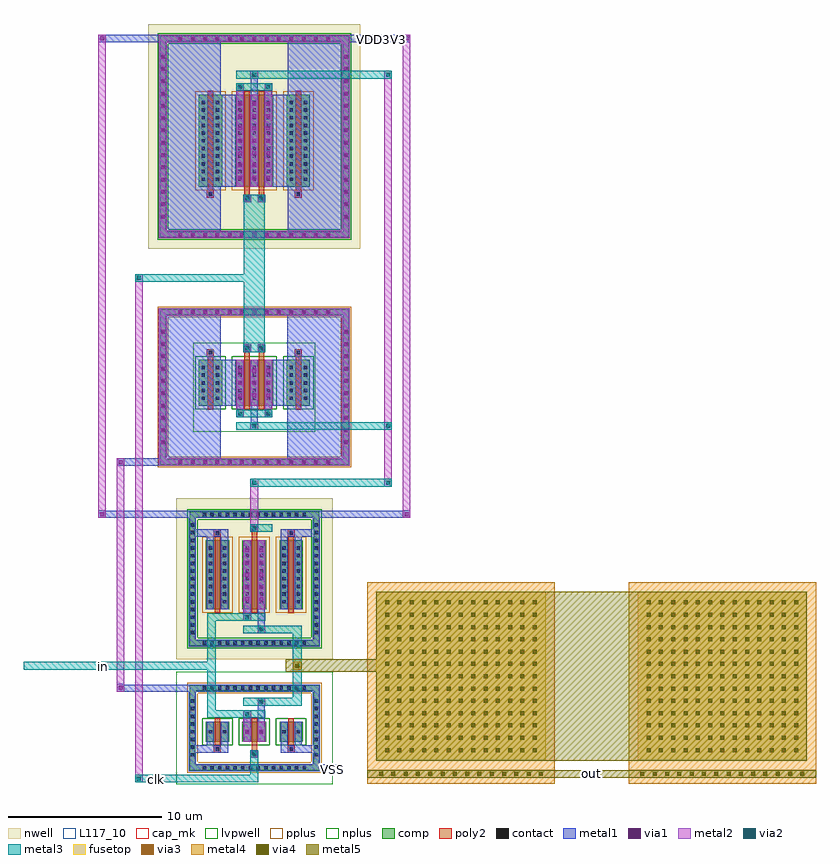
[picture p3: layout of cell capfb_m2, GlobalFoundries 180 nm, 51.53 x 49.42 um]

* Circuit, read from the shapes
.subckt capfb_m2 VDD3V3 VSS clk in out
XM1 VSS VSS VSS VSS nfet_03v3 w=3u l=0.36u m=2
XM2 VSS VSS VSS VSS nfet_03v3 w=1.3u l=0.36u m=2
XM3 n1 clk VSS VSS nfet_03v3 w=3u l=0.36u m=2
XM4 n2 clk in VSS nfet_03v3 w=1.3u l=0.36u
XM5 VDD3V3 VDD3V3 VDD3V3 VDD3V3 pfet_03v3 w=6u l=0.36u m=2
XM6 VDD3V3 VDD3V3 VDD3V3 VDD3V3 pfet_03v3 w=4.5u l=0.36u m=2
XM7 n1 clk VDD3V3 VDD3V3 pfet_03v3 w=6u l=0.36u m=2
XM8 n2 n1 in VDD3V3 pfet_03v3 w=4.5u l=0.36u
XC9 n2 out cap_mim_2f0fF c_width=11u c_length=11u m=2
.ends

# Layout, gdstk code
from math import pi, radians
import gdstk
lib = gdstk.Library(unit=1e-6, precision=5e-09)
def R(c, l, rs):  # rectangles x0, y0, x1, y1
    for r in rs: c.add(gdstk.rectangle(r[:2], r[2:], *l))
def A(c, l, x, y, w, h, nx, ny, dx, dy):  # array of equal rectangles
    R(c, l, [(x+i*dx, y+j*dy, x+i*dx+w, y+j*dy+h) for i in range(nx) for j in range(ny)])
def P(c, l, *ps):  # polygons
    for p in ps: c.add(gdstk.Polygon(p, *l))
nwell = (21, 0)
comp = (22, 0)
poly2 = (30, 0)
pplus = (31, 0)
nplus = (32, 0)
contact = (33, 0)
metal1 = (34, 0)
via1 = (35, 0)
metal2 = (36, 0)
via2 = (38, 0)
via3 = (40, 0)
via4 = (41, 0)
metal3 = (42, 0)
metal4 = (46, 0)
fusetop = (75, 0)
metal5 = (81, 0)
cap_mk = (117, 5)
L117_10 = (117, 10)
lvpwell = (204, 0)

unnamed_2a73851a_1_2 = lib.new_cell('Unnamed_2a73851a$1$2')
R(unnamed_2a73851a_1_2, nwell, [(-2.32,-4.395,2.32,4.395)])
R(unnamed_2a73851a_1_2, comp, [(-1.97,-3.275,-0.45,2.725), (0.41,-3.275,1.97,2.725)])
R(unnamed_2a73851a_1_2, poly2, [(0.96,-4.275,1.42,-3.815), (1.01,-4.225,1.37,-3.865), (-1.44,-3.975,-0.98,-3.515), (-1.39,-3.925,-1.03,-3.565), (1.01,-3.815,1.37,-3.515), (-1.39,-3.515,-1.03,2.965), (1.01,-3.515,1.37,2.965)])
R(unnamed_2a73851a_1_2, pplus, [(-2.2,-3.505,-0.22,2.955), (0.18,-3.505,2.2,2.955)])
A(unnamed_2a73851a_1_2, contact, -1.78, -2.885, 0.22, 0.22, 1, 11, 0, 0.5)
A(unnamed_2a73851a_1_2, contact, -0.86, -2.885, 0.22, 0.22, 1, 11, 0, 0.5)
A(unnamed_2a73851a_1_2, contact, 0.62, -2.885, 0.22, 0.22, 1, 11, 0, 0.5)
A(unnamed_2a73851a_1_2, contact, 1.54, -2.885, 0.22, 0.22, 1, 11, 0, 0.5)
R(unnamed_2a73851a_1_2, contact, [(1.08,-4.155,1.3,-3.935), (-1.32,-3.855,-1.1,-3.635)])
A(unnamed_2a73851a_1_2, metal1, -1.9, -3.975, 0.46, 0.46, 3, 1, 0.46, 0)
A(unnamed_2a73851a_1_2, metal1, -1.9, -3.005, 0.46, 0.46, 1, 11, 0, 0.5)
A(unnamed_2a73851a_1_2, metal1, -0.98, -3.005, 0.46, 0.46, 1, 11, 0, 0.5)
A(unnamed_2a73851a_1_2, metal1, 0.5, -3.005, 0.46, 0.46, 1, 11, 0, 0.5)
A(unnamed_2a73851a_1_2, metal1, 1.42, -3.005, 0.46, 0.46, 1, 11, 0, 0.5)
A(unnamed_2a73851a_1_2, metal1, 0.48, -2.925, 0.5, 0.5, 1, 7, 0, 0.8)
A(unnamed_2a73851a_1_2, metal1, 1.4, -2.925, 0.5, 0.5, 1, 7, 0, 0.8)
R(unnamed_2a73851a_1_2, metal1, [(0.96,-4.275,1.42,-3.815), (0.96,-4.275,1.42,-3.815), (-1.9,-3.975,-1.44,-3.275), (-0.98,-3.975,-0.52,-3.275), (-1.9,-3.275,-1.44,2.725), (-0.98,-3.275,-0.52,2.725), (0.5,-3.275,0.96,2.725), (1.42,-3.275,1.88,2.725), (0.48,-2.925,0.98,2.375), (1.4,-2.925,1.9,2.375), (0.5,2.725,0.96,3.475), (1.42,2.725,1.88,4.275), (0.48,2.975,0.98,3.475), (1.4,3.775,1.9,4.275)])
A(unnamed_2a73851a_1_2, via1, 0.6, -2.805, 0.26, 0.26, 1, 7, 0, 0.8)
A(unnamed_2a73851a_1_2, via1, 1.52, -2.805, 0.26, 0.26, 1, 7, 0, 0.8)
R(unnamed_2a73851a_1_2, via1, [(0.6,3.095,0.86,3.355), (1.52,3.895,1.78,4.155)])
A(unnamed_2a73851a_1_2, metal2, 0.48, -2.925, 0.5, 0.5, 1, 7, 0, 0.8)
A(unnamed_2a73851a_1_2, metal2, 1.4, -2.925, 0.5, 0.5, 1, 7, 0, 0.8)
R(unnamed_2a73851a_1_2, metal2, [(0.48,-3.275,0.98,2.725), (1.4,-3.275,1.9,2.725), (0.48,2.975,0.98,3.475), (1.4,3.775,1.9,4.275)])
R(unnamed_2a73851a_1_2, via2, [(0.6,3.095,0.86,3.355), (1.52,3.895,1.78,4.155)])
R(unnamed_2a73851a_1_2, metal3, [(0.48,2.975,0.98,3.475), (0.48,2.975,1.9,3.475), (0.48,3.775,1.9,4.275), (1.4,3.775,1.9,4.275)])

unnamed_f1af8ef3_1_2 = lib.new_cell('Unnamed_f1af8ef3$1$2')
R(unnamed_f1af8ef3_1_2, nwell, [(-2.32,-4.395,2.32,4.395)])
R(unnamed_f1af8ef3_1_2, comp, [(-1.97,-3.275,-0.45,2.725), (0.41,-3.275,1.97,2.725)])
R(unnamed_f1af8ef3_1_2, poly2, [(0.96,-4.275,1.42,-3.815), (1.01,-4.225,1.37,-3.865), (-1.44,-3.975,-0.98,-3.515), (-1.39,-3.925,-1.03,-3.565), (1.01,-3.815,1.37,-3.515), (-1.39,-3.515,-1.03,2.965), (1.01,-3.515,1.37,2.965)])
R(unnamed_f1af8ef3_1_2, pplus, [(-2.2,-3.505,-0.22,2.955), (0.18,-3.505,2.2,2.955)])
A(unnamed_f1af8ef3_1_2, contact, -1.78, -2.885, 0.22, 0.22, 1, 11, 0, 0.5)
A(unnamed_f1af8ef3_1_2, contact, -0.86, -2.885, 0.22, 0.22, 1, 11, 0, 0.5)
A(unnamed_f1af8ef3_1_2, contact, 0.62, -2.885, 0.22, 0.22, 1, 11, 0, 0.5)
A(unnamed_f1af8ef3_1_2, contact, 1.54, -2.885, 0.22, 0.22, 1, 11, 0, 0.5)
R(unnamed_f1af8ef3_1_2, contact, [(1.08,-4.155,1.3,-3.935), (-1.32,-3.855,-1.1,-3.635)])
A(unnamed_f1af8ef3_1_2, metal1, -1.9, -3.975, 0.46, 0.46, 3, 1, 0.46, 0)
A(unnamed_f1af8ef3_1_2, metal1, -1.9, -3.005, 0.46, 0.46, 1, 11, 0, 0.5)
A(unnamed_f1af8ef3_1_2, metal1, -0.98, -3.005, 0.46, 0.46, 1, 11, 0, 0.5)
A(unnamed_f1af8ef3_1_2, metal1, 0.5, -3.005, 0.46, 0.46, 1, 11, 0, 0.5)
A(unnamed_f1af8ef3_1_2, metal1, 1.42, -3.005, 0.46, 0.46, 1, 11, 0, 0.5)
A(unnamed_f1af8ef3_1_2, metal1, 0.48, -2.925, 0.5, 0.5, 1, 7, 0, 0.8)
A(unnamed_f1af8ef3_1_2, metal1, 1.4, -2.925, 0.5, 0.5, 1, 7, 0, 0.8)
R(unnamed_f1af8ef3_1_2, metal1, [(0.96,-4.275,1.42,-3.815), (0.96,-4.275,1.42,-3.815), (-1.9,-3.975,-1.44,-3.275), (-0.98,-3.975,-0.52,-3.275), (-1.9,-3.275,-1.44,2.725), (-0.98,-3.275,-0.52,2.725), (0.5,-3.275,0.96,2.725), (1.42,-3.275,1.88,2.725), (0.48,-2.925,0.98,2.375), (1.4,-2.925,1.9,2.375), (0.5,2.725,0.96,3.475), (1.42,2.725,1.88,4.275), (0.48,2.975,0.98,3.475), (1.4,3.775,1.9,4.275)])
A(unnamed_f1af8ef3_1_2, via1, 0.6, -2.805, 0.26, 0.26, 1, 7, 0, 0.8)
A(unnamed_f1af8ef3_1_2, via1, 1.52, -2.805, 0.26, 0.26, 1, 7, 0, 0.8)
R(unnamed_f1af8ef3_1_2, via1, [(0.6,3.095,0.86,3.355), (1.52,3.895,1.78,4.155)])
A(unnamed_f1af8ef3_1_2, metal2, 0.48, -2.925, 0.5, 0.5, 1, 7, 0, 0.8)
A(unnamed_f1af8ef3_1_2, metal2, 1.4, -2.925, 0.5, 0.5, 1, 7, 0, 0.8)
R(unnamed_f1af8ef3_1_2, metal2, [(0.48,-3.275,0.98,2.725), (1.4,-3.275,1.9,2.725), (0.48,2.975,0.98,3.475), (1.4,3.775,1.9,4.275)])
R(unnamed_f1af8ef3_1_2, via2, [(0.6,3.095,0.86,3.355), (1.52,3.895,1.78,4.155)])
R(unnamed_f1af8ef3_1_2, metal3, [(0.48,2.975,0.98,3.475), (0.48,2.975,1.9,3.475), (0.48,3.775,1.9,4.275), (1.4,3.775,1.9,4.275)])

unnamed_ead98f9a_1_2 = lib.new_cell('Unnamed_ead98f9a$1$2')
R(unnamed_ead98f9a_1_2, comp, [(-1.97,-1.775,-0.45,1.225), (0.41,-1.775,1.97,1.225)])
R(unnamed_ead98f9a_1_2, poly2, [(0.96,-2.775,1.42,-2.315), (1.01,-2.725,1.37,-2.365), (-1.44,-2.475,-0.98,-2.015), (-1.39,-2.425,-1.03,-2.065), (1.01,-2.315,1.37,-2.015), (-1.39,-2.015,-1.03,1.465), (1.01,-2.015,1.37,1.465)])
R(unnamed_ead98f9a_1_2, nplus, [(-2.2,-2.005,-0.22,1.455), (0.18,-2.005,2.2,1.455)])
A(unnamed_ead98f9a_1_2, contact, -1.78, -1.385, 0.22, 0.22, 1, 5, 0, 0.5)
A(unnamed_ead98f9a_1_2, contact, -0.86, -1.385, 0.22, 0.22, 1, 5, 0, 0.5)
A(unnamed_ead98f9a_1_2, contact, 0.62, -1.385, 0.22, 0.22, 1, 5, 0, 0.5)
A(unnamed_ead98f9a_1_2, contact, 1.54, -1.385, 0.22, 0.22, 1, 5, 0, 0.5)
R(unnamed_ead98f9a_1_2, contact, [(1.08,-2.655,1.3,-2.435), (-1.32,-2.355,-1.1,-2.135)])
A(unnamed_ead98f9a_1_2, metal1, -1.9, -2.475, 0.46, 0.46, 3, 1, 0.46, 0)
A(unnamed_ead98f9a_1_2, metal1, -1.9, -1.505, 0.46, 0.46, 1, 5, 0, 0.5)
A(unnamed_ead98f9a_1_2, metal1, -0.98, -1.505, 0.46, 0.46, 1, 5, 0, 0.5)
A(unnamed_ead98f9a_1_2, metal1, 0.5, -1.505, 0.46, 0.46, 1, 5, 0, 0.5)
A(unnamed_ead98f9a_1_2, metal1, 1.42, -1.505, 0.46, 0.46, 1, 5, 0, 0.5)
A(unnamed_ead98f9a_1_2, metal1, 0.48, -1.325, 0.5, 0.5, 1, 3, 0, 0.8)
A(unnamed_ead98f9a_1_2, metal1, 1.4, -1.325, 0.5, 0.5, 1, 3, 0, 0.8)
R(unnamed_ead98f9a_1_2, metal1, [(0.96,-2.775,1.42,-2.315), (0.96,-2.775,1.42,-2.315), (-1.9,-2.475,-1.44,-1.775), (-0.98,-2.475,-0.52,-1.775), (-1.9,-1.775,-1.44,1.225), (-0.98,-1.775,-0.52,1.225), (0.5,-1.775,0.96,1.225), (1.42,-1.775,1.88,1.225), (0.48,-1.325,0.98,0.775), (1.4,-1.325,1.9,0.775), (0.5,1.225,0.96,1.975), (1.42,1.225,1.88,2.775), (0.48,1.475,0.98,1.975), (1.4,2.275,1.9,2.775)])
A(unnamed_ead98f9a_1_2, via1, 0.6, -1.205, 0.26, 0.26, 1, 3, 0, 0.8)
A(unnamed_ead98f9a_1_2, via1, 1.52, -1.205, 0.26, 0.26, 1, 3, 0, 0.8)
R(unnamed_ead98f9a_1_2, via1, [(0.6,1.595,0.86,1.855), (1.52,2.395,1.78,2.655)])
A(unnamed_ead98f9a_1_2, metal2, 0.48, -1.325, 0.5, 0.5, 1, 3, 0, 0.8)
A(unnamed_ead98f9a_1_2, metal2, 1.4, -1.325, 0.5, 0.5, 1, 3, 0, 0.8)
R(unnamed_ead98f9a_1_2, metal2, [(0.48,-1.775,0.98,1.225), (1.4,-1.775,1.9,1.225), (0.48,1.475,0.98,1.975), (1.4,2.275,1.9,2.775)])
R(unnamed_ead98f9a_1_2, via2, [(0.6,1.595,0.86,1.855), (1.52,2.395,1.78,2.655)])
R(unnamed_ead98f9a_1_2, metal3, [(0.48,1.475,0.98,1.975), (0.48,1.475,1.9,1.975), (0.48,2.275,1.9,2.775), (1.4,2.275,1.9,2.775)])
R(unnamed_ead98f9a_1_2, lvpwell, [(-2.32,-2.895,2.32,2.895)])

unnamed_11e8e328_1_2 = lib.new_cell('Unnamed_11e8e328$1$2')
R(unnamed_11e8e328_1_2, comp, [(-1.97,-1.775,-0.45,1.225), (0.41,-1.775,1.97,1.225)])
R(unnamed_11e8e328_1_2, poly2, [(0.96,-2.775,1.42,-2.315), (1.01,-2.725,1.37,-2.365), (-1.44,-2.475,-0.98,-2.015), (-1.39,-2.425,-1.03,-2.065), (1.01,-2.315,1.37,-2.015), (-1.39,-2.015,-1.03,1.465), (1.01,-2.015,1.37,1.465)])
R(unnamed_11e8e328_1_2, nplus, [(-2.2,-2.005,-0.22,1.455), (0.18,-2.005,2.2,1.455)])
A(unnamed_11e8e328_1_2, contact, -1.78, -1.385, 0.22, 0.22, 1, 5, 0, 0.5)
A(unnamed_11e8e328_1_2, contact, -0.86, -1.385, 0.22, 0.22, 1, 5, 0, 0.5)
A(unnamed_11e8e328_1_2, contact, 0.62, -1.385, 0.22, 0.22, 1, 5, 0, 0.5)
A(unnamed_11e8e328_1_2, contact, 1.54, -1.385, 0.22, 0.22, 1, 5, 0, 0.5)
R(unnamed_11e8e328_1_2, contact, [(1.08,-2.655,1.3,-2.435), (-1.32,-2.355,-1.1,-2.135)])
A(unnamed_11e8e328_1_2, metal1, -1.9, -2.475, 0.46, 0.46, 3, 1, 0.46, 0)
A(unnamed_11e8e328_1_2, metal1, -1.9, -1.505, 0.46, 0.46, 1, 5, 0, 0.5)
A(unnamed_11e8e328_1_2, metal1, -0.98, -1.505, 0.46, 0.46, 1, 5, 0, 0.5)
A(unnamed_11e8e328_1_2, metal1, 0.5, -1.505, 0.46, 0.46, 1, 5, 0, 0.5)
A(unnamed_11e8e328_1_2, metal1, 1.42, -1.505, 0.46, 0.46, 1, 5, 0, 0.5)
A(unnamed_11e8e328_1_2, metal1, 0.48, -1.325, 0.5, 0.5, 1, 3, 0, 0.8)
A(unnamed_11e8e328_1_2, metal1, 1.4, -1.325, 0.5, 0.5, 1, 3, 0, 0.8)
R(unnamed_11e8e328_1_2, metal1, [(0.96,-2.775,1.42,-2.315), (0.96,-2.775,1.42,-2.315), (-1.9,-2.475,-1.44,-1.775), (-0.98,-2.475,-0.52,-1.775), (-1.9,-1.775,-1.44,1.225), (-0.98,-1.775,-0.52,1.225), (0.5,-1.775,0.96,1.225), (1.42,-1.775,1.88,1.225), (0.48,-1.325,0.98,0.775), (1.4,-1.325,1.9,0.775), (0.5,1.225,0.96,1.975), (1.42,1.225,1.88,2.775), (0.48,1.475,0.98,1.975), (1.4,2.275,1.9,2.775)])
A(unnamed_11e8e328_1_2, via1, 0.6, -1.205, 0.26, 0.26, 1, 3, 0, 0.8)
A(unnamed_11e8e328_1_2, via1, 1.52, -1.205, 0.26, 0.26, 1, 3, 0, 0.8)
R(unnamed_11e8e328_1_2, via1, [(0.6,1.595,0.86,1.855), (1.52,2.395,1.78,2.655)])
A(unnamed_11e8e328_1_2, metal2, 0.48, -1.325, 0.5, 0.5, 1, 3, 0, 0.8)
A(unnamed_11e8e328_1_2, metal2, 1.4, -1.325, 0.5, 0.5, 1, 3, 0, 0.8)
R(unnamed_11e8e328_1_2, metal2, [(0.48,-1.775,0.98,1.225), (1.4,-1.775,1.9,1.225), (0.48,1.475,0.98,1.975), (1.4,2.275,1.9,2.775)])
R(unnamed_11e8e328_1_2, via2, [(0.6,1.595,0.86,1.855), (1.52,2.395,1.78,2.655)])
R(unnamed_11e8e328_1_2, metal3, [(0.48,1.475,0.98,1.975), (0.48,1.475,1.9,1.975), (0.48,2.275,1.9,2.775), (1.4,2.275,1.9,2.775)])
R(unnamed_11e8e328_1_2, lvpwell, [(-2.32,-2.895,2.32,2.895)])

unnamed_a559eeb2_1_1_2 = lib.new_cell('Unnamed_a559eeb2$1$1$2')
A(unnamed_a559eeb2_1_1_2, comp, -4.98, -6.555, 0.36, 0.36, 13, 2, 0.8, 12.75)
A(unnamed_a559eeb2_1_1_2, comp, -6.13, -5.38, 0.36, 0.36, 1, 14, 0, 0.8)
A(unnamed_a559eeb2_1_1_2, comp, 5.77, -5.38, 0.36, 0.36, 1, 14, 0, 0.8)
R(unnamed_a559eeb2_1_1_2, comp, [(-4.98,-6.555,4.98,-6.195), (-6.13,-5.38,-5.77,5.38), (5.77,-5.38,6.13,5.38), (-4.98,6.195,4.98,6.555)])
P(unnamed_a559eeb2_1_1_2, comp, [(-6.13,-6.555),(-6.13,-6.195),(-5.77,-6.195),(5.77,-6.195),(5.77,6.195),(-5.77,6.195),(-5.77,-6.195),(-6.13,-6.195),(-6.13,6.555),(6.13,6.555),(6.13,-6.555)])
P(unnamed_a559eeb2_1_1_2, nplus, [(-6.29,-6.715),(-6.29,-6.035),(-5.61,-6.035),(5.61,-6.035),(5.61,6.035),(-5.61,6.035),(-5.61,-6.035),(-6.29,-6.035),(-6.29,6.715),(6.29,6.715),(6.29,-6.715)])
A(unnamed_a559eeb2_1_1_2, contact, -4.91, -6.485, 0.22, 0.22, 13, 2, 0.8, 12.75)
A(unnamed_a559eeb2_1_1_2, contact, -6.06, -5.31, 0.22, 0.22, 1, 14, 0, 0.8)
A(unnamed_a559eeb2_1_1_2, contact, 5.84, -5.31, 0.22, 0.22, 1, 14, 0, 0.8)
A(unnamed_a559eeb2_1_1_2, metal1, -5.05, -6.625, 0.5, 0.5, 13, 2, 0.8, 12.75)
A(unnamed_a559eeb2_1_1_2, metal1, -6.2, -5.45, 0.5, 0.5, 1, 14, 0, 0.8)
A(unnamed_a559eeb2_1_1_2, metal1, 5.7, -5.45, 0.5, 0.5, 1, 14, 0, 0.8)
R(unnamed_a559eeb2_1_1_2, metal1, [(-5.05,-6.625,5.05,-6.125), (-6.2,-5.45,-5.7,5.45), (5.7,-5.45,6.2,5.45), (-5.05,6.125,5.05,6.625)])
A(unnamed_a559eeb2_1_1_2, via1, -4.93, -6.505, 0.26, 0.26, 13, 2, 0.8, 12.75)
A(unnamed_a559eeb2_1_1_2, via1, -6.08, -5.33, 0.26, 0.26, 1, 14, 0, 0.8)
A(unnamed_a559eeb2_1_1_2, via1, 5.82, -5.33, 0.26, 0.26, 1, 14, 0, 0.8)
A(unnamed_a559eeb2_1_1_2, metal2, -5.05, -6.625, 0.5, 0.5, 13, 2, 0.8, 12.75)
A(unnamed_a559eeb2_1_1_2, metal2, -6.2, -5.45, 0.5, 0.5, 1, 14, 0, 0.8)
A(unnamed_a559eeb2_1_1_2, metal2, 5.7, -5.45, 0.5, 0.5, 1, 14, 0, 0.8)
R(unnamed_a559eeb2_1_1_2, metal2, [(-6.2,-6.625,-5.77,-6.125), (-6.2,-6.625,-5.7,-6.195), (-5.77,-6.625,5.77,-6.125), (5.7,-6.625,6.2,-6.195), (5.77,-6.625,6.2,-6.125), (-6.2,-6.195,-5.7,6.195), (5.7,-6.195,6.2,6.195), (-6.2,6.125,-5.77,6.625), (-5.77,6.125,5.77,6.625), (5.77,6.125,6.2,6.625), (-6.2,6.195,-5.7,6.625), (5.7,6.195,6.2,6.625)])

unnamed_ba294454_1_1_2 = lib.new_cell('Unnamed_ba294454$1$1$2')
A(unnamed_ba294454_1_1_2, comp, -4.98, -5.055, 0.36, 0.36, 13, 2, 0.8, 9.75)
A(unnamed_ba294454_1_1_2, comp, -6.13, -3.78, 0.36, 0.36, 1, 10, 0, 0.8)
A(unnamed_ba294454_1_1_2, comp, 5.77, -3.78, 0.36, 0.36, 1, 10, 0, 0.8)
R(unnamed_ba294454_1_1_2, comp, [(-4.98,-5.055,4.98,-4.695), (-6.13,-3.78,-5.77,3.78), (5.77,-3.78,6.13,3.78), (-4.98,4.695,4.98,5.055)])
P(unnamed_ba294454_1_1_2, comp, [(-6.13,-5.055),(-6.13,-4.695),(-5.77,-4.695),(5.77,-4.695),(5.77,4.695),(-5.77,4.695),(-5.77,-4.695),(-6.13,-4.695),(-6.13,5.055),(6.13,5.055),(6.13,-5.055)])
P(unnamed_ba294454_1_1_2, pplus, [(-6.29,-5.215),(-6.29,-4.535),(-5.61,-4.535),(5.61,-4.535),(5.61,4.535),(-5.61,4.535),(-5.61,-4.535),(-6.29,-4.535),(-6.29,5.215),(6.29,5.215),(6.29,-5.215)])
A(unnamed_ba294454_1_1_2, contact, -4.91, -4.985, 0.22, 0.22, 13, 2, 0.8, 9.75)
A(unnamed_ba294454_1_1_2, contact, -6.06, -3.71, 0.22, 0.22, 1, 10, 0, 0.8)
A(unnamed_ba294454_1_1_2, contact, 5.84, -3.71, 0.22, 0.22, 1, 10, 0, 0.8)
A(unnamed_ba294454_1_1_2, metal1, -5.05, -5.125, 0.5, 0.5, 13, 2, 0.8, 9.75)
A(unnamed_ba294454_1_1_2, metal1, -6.2, -3.85, 0.5, 0.5, 1, 10, 0, 0.8)
A(unnamed_ba294454_1_1_2, metal1, 5.7, -3.85, 0.5, 0.5, 1, 10, 0, 0.8)
R(unnamed_ba294454_1_1_2, metal1, [(-5.05,-5.125,5.05,-4.625), (-6.2,-3.85,-5.7,3.85), (5.7,-3.85,6.2,3.85), (-5.05,4.625,5.05,5.125)])
A(unnamed_ba294454_1_1_2, via1, -4.93, -5.005, 0.26, 0.26, 13, 2, 0.8, 9.75)
A(unnamed_ba294454_1_1_2, via1, -6.08, -3.73, 0.26, 0.26, 1, 10, 0, 0.8)
A(unnamed_ba294454_1_1_2, via1, 5.82, -3.73, 0.26, 0.26, 1, 10, 0, 0.8)
A(unnamed_ba294454_1_1_2, metal2, -5.05, -5.125, 0.5, 0.5, 13, 2, 0.8, 9.75)
A(unnamed_ba294454_1_1_2, metal2, -6.2, -3.85, 0.5, 0.5, 1, 10, 0, 0.8)
A(unnamed_ba294454_1_1_2, metal2, 5.7, -3.85, 0.5, 0.5, 1, 10, 0, 0.8)
R(unnamed_ba294454_1_1_2, metal2, [(-6.2,-5.125,-5.77,-4.625), (-6.2,-5.125,-5.7,-4.695), (-5.77,-5.125,5.77,-4.625), (5.7,-5.125,6.2,-4.695), (5.77,-5.125,6.2,-4.625), (-6.2,-4.695,-5.7,4.695), (5.7,-4.695,6.2,4.695), (-6.2,4.625,-5.77,5.125), (-5.77,4.625,5.77,5.125), (5.77,4.625,6.2,5.125), (-6.2,4.695,-5.7,5.125), (5.7,4.695,6.2,5.125)])

straight_route_bff6138e_ = lib.new_cell('straight_route_bff6138e$4$1$2')
P(straight_route_bff6138e_, metal1, [(0.96,-4.275),(0.96,-4.275),(1.42,-4.275),(1.42,-4.275)])

c_route_7e4f65a3_1_1_2 = lib.new_cell('c_route_7e4f65a3$1$1$2')
R(c_route_7e4f65a3_1_1_2, metal2, [(10.1,-19.065,10.6,-18.565), (10.1,-19.065,10.6,4.275), (10.1,3.775,10.6,4.275)])
P(c_route_7e4f65a3_1_1_2, metal2, [(10.6,-19.065),(10.6,-18.565),(10.6,-18.565),(10.6,-19.065)],
  [(10.6,3.775),(10.6,4.275),(10.6,4.275),(10.6,3.775)])
R(c_route_7e4f65a3_1_1_2, via2, [(10.22,-18.945,10.48,-18.685), (10.22,3.895,10.48,4.155)])
R(c_route_7e4f65a3_1_1_2, metal3, [(1.9,-19.065,10.6,-18.565), (10.1,-19.065,10.6,-18.565), (1.9,3.775,10.6,4.275), (10.1,3.775,10.6,4.275)])

straight_route_e266139e_ = lib.new_cell('straight_route_e266139e$2$1$2')
R(straight_route_e266139e_, metal1, [(1.86,-14.015,2.36,-13.515), (1.86,-4.275,2.36,-3.775)])
R(straight_route_e266139e_, via1, [(1.98,-13.895,2.24,-13.635), (1.98,-4.155,2.24,-3.895)])
R(straight_route_e266139e_, metal2, [(1.86,-14.015,2.36,-13.515), (1.86,-4.275,2.36,-3.775)])
R(straight_route_e266139e_, via2, [(1.98,-13.895,2.24,-13.635), (1.98,-4.155,2.24,-3.895)])
R(straight_route_e266139e_, metal3, [(1.86,-14.015,2.36,-13.515), (1.88,-13.515,2.34,-4.275), (1.86,-4.275,2.36,-3.775)])

straight_route_f31ed6b7_ = lib.new_cell('straight_route_f31ed6b7$2$1$2')
R(straight_route_f31ed6b7_, metal1, [(0.94,-14.015,1.44,-13.515), (0.94,-4.275,1.44,-3.775)])
R(straight_route_f31ed6b7_, via1, [(1.06,-13.895,1.32,-13.635), (1.06,-4.155,1.32,-3.895)])
R(straight_route_f31ed6b7_, metal2, [(0.94,-14.015,1.44,-13.515), (0.94,-4.275,1.44,-3.775)])
R(straight_route_f31ed6b7_, via2, [(1.06,-13.895,1.32,-13.635), (1.06,-4.155,1.32,-3.895)])
R(straight_route_f31ed6b7_, metal3, [(0.94,-14.015,1.44,-13.515), (0.96,-13.515,1.42,-4.275), (0.94,-4.275,1.44,-3.775)])

unnamed_5acb1a93_1_2 = lib.new_cell('Unnamed_5acb1a93$1$2')
R(unnamed_5acb1a93_1_2, nwell, [(-4.49,-4.645,4.49,4.645)])
A(unnamed_5acb1a93_1_2, comp, -3.43, -4.365, 0.36, 0.36, 14, 2, 0.5, 8.37)
A(unnamed_5acb1a93_1_2, comp, -4.21, -3.68, 0.36, 0.36, 1, 15, 0, 0.5)
A(unnamed_5acb1a93_1_2, comp, 3.85, -3.68, 0.36, 0.36, 1, 15, 0, 0.5)
R(unnamed_5acb1a93_1_2, comp, [(-3.43,-4.365,3.43,-4.005), (-4.21,-3.68,-3.85,3.68), (3.85,-3.68,4.21,3.68), (-3.16,-2.505,-1.64,1.995), (-0.78,-2.505,0.78,1.995), (1.64,-2.505,3.16,1.995), (-3.43,4.005,3.43,4.365)])
P(unnamed_5acb1a93_1_2, comp, [(-4.21,-4.365),(-4.21,-4.005),(-3.85,-4.005),(3.85,-4.005),(3.85,4.005),(-3.85,4.005),(-3.85,-4.005),(-4.21,-4.005),(-4.21,4.365),(4.21,4.365),(4.21,-4.365)])
A(unnamed_5acb1a93_1_2, poly2, -2.58, -2.745, 0.36, 4.98, 3, 1, 2.4, 0)
R(unnamed_5acb1a93_1_2, poly2, [(-0.25,-3.545,0.25,-3.045), (-0.18,-3.475,0.18,-3.115), (-2.63,-3.205,-2.17,-2.745), (2.17,-3.205,2.63,-2.745), (-2.58,-3.155,-2.22,-2.795), (2.22,-3.155,2.58,-2.795), (-0.18,-3.045,0.18,-2.745)])
R(unnamed_5acb1a93_1_2, pplus, [(-3.39,-2.735,-1.41,2.225), (-1.01,-2.735,1.01,2.225), (1.41,-2.735,3.39,2.225)])
P(unnamed_5acb1a93_1_2, nplus, [(-4.37,-4.525),(-4.37,-3.845),(-3.69,-3.845),(3.69,-3.845),(3.69,3.845),(-3.69,3.845),(-3.69,-3.845),(-4.37,-3.845),(-4.37,4.525),(4.37,4.525),(4.37,-4.525)])
A(unnamed_5acb1a93_1_2, contact, -3.36, -4.295, 0.22, 0.22, 14, 2, 0.5, 8.37)
A(unnamed_5acb1a93_1_2, contact, -4.14, -3.61, 0.22, 0.22, 1, 15, 0, 0.5)
A(unnamed_5acb1a93_1_2, contact, 3.92, -3.61, 0.22, 0.22, 1, 15, 0, 0.5)
A(unnamed_5acb1a93_1_2, contact, -2.97, -2.115, 0.22, 0.22, 1, 8, 0, 0.5)
A(unnamed_5acb1a93_1_2, contact, -2.05, -2.115, 0.22, 0.22, 1, 8, 0, 0.5)
A(unnamed_5acb1a93_1_2, contact, -0.57, -2.115, 0.22, 0.22, 1, 8, 0, 0.5)
A(unnamed_5acb1a93_1_2, contact, 0.35, -2.115, 0.22, 0.22, 1, 8, 0, 0.5)
A(unnamed_5acb1a93_1_2, contact, 1.83, -2.115, 0.22, 0.22, 1, 8, 0, 0.5)
A(unnamed_5acb1a93_1_2, contact, 2.75, -2.115, 0.22, 0.22, 1, 8, 0, 0.5)
R(unnamed_5acb1a93_1_2, contact, [(-0.11,-3.405,0.11,-3.185), (-2.51,-3.085,-2.29,-2.865), (2.29,-3.085,2.51,-2.865)])
A(unnamed_5acb1a93_1_2, metal1, -3.48, -4.415, 0.46, 0.46, 14, 2, 0.5, 8.37)
A(unnamed_5acb1a93_1_2, metal1, -4.26, -3.73, 0.46, 0.46, 1, 15, 0, 0.5)
A(unnamed_5acb1a93_1_2, metal1, 3.8, -3.73, 0.46, 0.46, 1, 15, 0, 0.5)
A(unnamed_5acb1a93_1_2, metal1, -3.09, -3.205, 0.46, 0.46, 3, 1, 0.46, 0)
A(unnamed_5acb1a93_1_2, metal1, 1.71, -3.205, 0.46, 0.46, 3, 1, 0.46, 0)
A(unnamed_5acb1a93_1_2, metal1, -3.09, -2.235, 0.46, 0.46, 1, 8, 0, 0.5)
A(unnamed_5acb1a93_1_2, metal1, -2.17, -2.235, 0.46, 0.46, 1, 8, 0, 0.5)
A(unnamed_5acb1a93_1_2, metal1, -0.69, -2.235, 0.46, 0.46, 1, 8, 0, 0.5)
A(unnamed_5acb1a93_1_2, metal1, 0.23, -2.235, 0.46, 0.46, 1, 8, 0, 0.5)
A(unnamed_5acb1a93_1_2, metal1, 1.71, -2.235, 0.46, 0.46, 1, 8, 0, 0.5)
A(unnamed_5acb1a93_1_2, metal1, 2.63, -2.235, 0.46, 0.46, 1, 8, 0, 0.5)
A(unnamed_5acb1a93_1_2, metal1, -0.71, -2.105, 0.5, 0.5, 1, 5, 0, 0.8)
A(unnamed_5acb1a93_1_2, metal1, 0.21, -2.105, 0.5, 0.5, 1, 5, 0, 0.8)
R(unnamed_5acb1a93_1_2, metal1, [(-4.26,-4.415,-3.85,-3.955), (-4.26,-4.415,-3.8,-4.005), (-3.85,-4.415,3.85,-3.955), (3.8,-4.415,4.26,-4.005), (3.85,-4.415,4.26,-3.955), (-4.26,-4.005,-3.8,4.005), (3.8,-4.005,4.26,4.005), (-0.25,-3.545,0.25,-3.045), (-4.26,-3.205,-2.63,-2.745), (-3.09,-3.205,-2.63,-2.505), (-2.17,-3.205,-1.71,-2.505), (1.71,-3.205,2.17,-2.505), (2.17,-3.205,4.26,-2.745), (2.63,-3.205,3.09,-2.505), (-3.09,-2.505,-2.63,1.995), (-2.17,-2.505,-1.71,1.995), (-0.69,-2.505,-0.23,1.995), (0.23,-2.505,0.69,1.995), (1.71,-2.505,2.17,1.995), (2.63,-2.505,3.09,1.995), (-0.71,-2.105,-0.21,1.595), (0.21,-2.105,0.71,1.595), (-0.69,1.995,-0.23,2.745), (0.23,1.995,0.69,3.545), (-0.71,2.245,-0.21,2.745), (0.21,3.045,0.71,3.545), (-4.26,3.955,-3.85,4.415), (-3.85,3.955,3.85,4.415), (3.85,3.955,4.26,4.415), (-4.26,4.005,-3.8,4.415), (3.8,4.005,4.26,4.415)])
A(unnamed_5acb1a93_1_2, via1, -0.59, -1.985, 0.26, 0.26, 1, 5, 0, 0.8)
A(unnamed_5acb1a93_1_2, via1, 0.33, -1.985, 0.26, 0.26, 1, 5, 0, 0.8)
R(unnamed_5acb1a93_1_2, via1, [(-0.13,-3.425,0.13,-3.165), (-0.59,2.365,-0.33,2.625), (0.33,3.165,0.59,3.425)])
A(unnamed_5acb1a93_1_2, metal2, -0.71, -2.105, 0.5, 0.5, 1, 5, 0, 0.8)
A(unnamed_5acb1a93_1_2, metal2, 0.21, -2.105, 0.5, 0.5, 1, 5, 0, 0.8)
R(unnamed_5acb1a93_1_2, metal2, [(-0.25,-3.545,0.25,-3.045), (-0.71,-2.505,-0.21,1.995), (0.21,-2.505,0.71,1.995), (-0.71,2.245,-0.21,2.745), (0.21,3.045,0.71,3.545)])
R(unnamed_5acb1a93_1_2, via2, [(-0.13,-3.425,0.13,-3.165), (-0.59,2.365,-0.33,2.625), (0.33,3.165,0.59,3.425)])
R(unnamed_5acb1a93_1_2, metal3, [(-0.25,-3.545,0.25,-3.045), (-0.25,-3.545,0.25,-3.045), (-0.71,2.245,-0.21,2.745), (-0.71,2.245,0.71,2.745), (-0.71,3.045,0.71,3.545), (0.21,3.045,0.71,3.545)])

unnamed_6f5da526_1_2 = lib.new_cell('Unnamed_6f5da526$1$2')
A(unnamed_6f5da526_1_2, comp, -3.43, -2.77, 0.36, 0.36, 14, 2, 0.5, 5.18)
A(unnamed_6f5da526_1_2, comp, -4.21, -1.93, 0.36, 0.36, 1, 8, 0, 0.5)
A(unnamed_6f5da526_1_2, comp, 3.85, -1.93, 0.36, 0.36, 1, 8, 0, 0.5)
R(unnamed_6f5da526_1_2, comp, [(-3.43,-2.77,3.43,-2.41), (-4.21,-1.93,-3.85,1.93), (3.85,-1.93,4.21,1.93), (-3.16,-0.905,-1.64,0.395), (-0.78,-0.905,0.78,0.395), (1.64,-0.905,3.16,0.395), (-3.43,2.41,3.43,2.77)])
P(unnamed_6f5da526_1_2, comp, [(-4.21,-2.77),(-4.21,-2.41),(-3.85,-2.41),(3.85,-2.41),(3.85,2.41),(-3.85,2.41),(-3.85,-2.41),(-4.21,-2.41),(-4.21,2.77),(4.21,2.77),(4.21,-2.77)])
A(unnamed_6f5da526_1_2, poly2, -2.58, -1.145, 0.36, 1.78, 3, 1, 2.4, 0)
R(unnamed_6f5da526_1_2, poly2, [(-0.25,-1.945,0.25,-1.445), (-0.18,-1.875,0.18,-1.515), (-2.63,-1.605,-2.17,-1.145), (2.17,-1.605,2.63,-1.145), (-2.58,-1.555,-2.22,-1.195), (2.22,-1.555,2.58,-1.195), (-0.18,-1.445,0.18,-1.145)])
P(unnamed_6f5da526_1_2, pplus, [(-4.37,-2.93),(-4.37,-2.25),(-3.69,-2.25),(3.69,-2.25),(3.69,2.25),(-3.69,2.25),(-3.69,-2.25),(-4.37,-2.25),(-4.37,2.93),(4.37,2.93),(4.37,-2.93)])
R(unnamed_6f5da526_1_2, nplus, [(-3.39,-1.135,-1.41,0.625), (-1.01,-1.135,1.01,0.625), (1.41,-1.135,3.39,0.625)])
A(unnamed_6f5da526_1_2, contact, -3.36, -2.7, 0.22, 0.22, 14, 2, 0.5, 5.18)
A(unnamed_6f5da526_1_2, contact, -4.14, -1.86, 0.22, 0.22, 1, 8, 0, 0.5)
A(unnamed_6f5da526_1_2, contact, 3.92, -1.86, 0.22, 0.22, 1, 8, 0, 0.5)
R(unnamed_6f5da526_1_2, contact, [(-0.11,-1.805,0.11,-1.585), (-2.51,-1.485,-2.29,-1.265), (2.29,-1.485,2.51,-1.265), (-2.97,-0.365,-2.75,-0.145), (-2.05,-0.365,-1.83,-0.145), (-0.57,-0.365,-0.35,-0.145), (0.35,-0.365,0.57,-0.145), (1.83,-0.365,2.05,-0.145), (2.75,-0.365,2.97,-0.145)])
A(unnamed_6f5da526_1_2, metal1, -3.48, -2.82, 0.46, 0.46, 14, 2, 0.5, 5.18)
A(unnamed_6f5da526_1_2, metal1, -4.26, -1.98, 0.46, 0.46, 1, 8, 0, 0.5)
A(unnamed_6f5da526_1_2, metal1, 3.8, -1.98, 0.46, 0.46, 1, 8, 0, 0.5)
A(unnamed_6f5da526_1_2, metal1, -3.09, -1.605, 0.46, 0.46, 3, 1, 0.46, 0)
A(unnamed_6f5da526_1_2, metal1, 1.71, -1.605, 0.46, 0.46, 3, 1, 0.46, 0)
R(unnamed_6f5da526_1_2, metal1, [(-4.26,-2.82,-3.85,-2.36), (-4.26,-2.82,-3.8,-2.41), (-3.85,-2.82,3.85,-2.36), (3.8,-2.82,4.26,-2.41), (3.85,-2.82,4.26,-2.36), (-4.26,-2.41,-3.8,2.41), (3.8,-2.41,4.26,2.41), (-0.25,-1.945,0.25,-1.445), (-4.26,-1.605,-2.63,-1.145), (-3.09,-1.605,-2.63,-0.905), (-2.17,-1.605,-1.71,-0.905), (1.71,-1.605,2.17,-0.905), (2.17,-1.605,4.26,-1.145), (2.63,-1.605,3.09,-0.905), (-3.09,-0.905,-2.63,0.395), (-2.17,-0.905,-1.71,0.395), (-0.69,-0.905,-0.23,0.395), (0.23,-0.905,0.69,0.395), (1.71,-0.905,2.17,0.395), (2.63,-0.905,3.09,0.395), (-0.71,-0.505,-0.21,-0.005), (-0.71,-0.505,-0.21,-0.005), (0.21,-0.505,0.71,-0.005), (0.21,-0.505,0.71,-0.005), (-3.09,-0.485,-2.63,-0.025), (-2.17,-0.485,-1.71,-0.025), (-0.69,-0.485,-0.23,-0.025), (0.23,-0.485,0.69,-0.025), (1.71,-0.485,2.17,-0.025), (2.63,-0.485,3.09,-0.025), (-0.69,0.395,-0.23,1.145), (0.23,0.395,0.69,1.945), (-0.71,0.645,-0.21,1.145), (0.21,1.445,0.71,1.945), (-4.26,2.36,-3.85,2.82), (-3.85,2.36,3.85,2.82), (3.85,2.36,4.26,2.82), (-4.26,2.41,-3.8,2.82), (3.8,2.41,4.26,2.82)])
R(unnamed_6f5da526_1_2, via1, [(-0.13,-1.825,0.13,-1.565), (-0.59,-0.385,-0.33,-0.125), (0.33,-0.385,0.59,-0.125), (-0.59,0.765,-0.33,1.025), (0.33,1.565,0.59,1.825)])
R(unnamed_6f5da526_1_2, metal2, [(-0.25,-1.945,0.25,-1.445), (-0.71,-0.905,-0.21,0.395), (0.21,-0.905,0.71,0.395), (-0.71,-0.505,-0.21,-0.005), (0.21,-0.505,0.71,-0.005), (-0.71,0.645,-0.21,1.145), (0.21,1.445,0.71,1.945)])
R(unnamed_6f5da526_1_2, via2, [(-0.13,-1.825,0.13,-1.565), (-0.59,0.765,-0.33,1.025), (0.33,1.565,0.59,1.825)])
R(unnamed_6f5da526_1_2, metal3, [(-0.25,-1.945,0.25,-1.445), (-0.25,-1.945,0.25,-1.445), (-0.71,0.645,-0.21,1.145), (-0.71,0.645,0.71,1.145), (-0.71,1.445,0.71,1.945), (0.21,1.445,0.71,1.945)])
R(unnamed_6f5da526_1_2, lvpwell, [(-4.49,-3.05,4.49,3.05)])

c_route_c792315c_10_1_2 = lib.new_cell('c_route_c792315c$10$1$2')
R(c_route_c792315c_10_1_2, metal3, [(-3.07,-9.05,-0.71,-8.55), (-3.07,-9.05,-2.51,-8.49), (-3.07,-9.05,-2.51,-2.245), (-3.07,-2.805,-2.51,-2.245), (-3.07,-2.745,-0.71,-2.245)])
P(c_route_c792315c_10_1_2, metal3, [(-2.51,-9.05),(-2.51,-8.49),(-2.51,-8.49),(-2.51,-9.05)],
  [(-2.51,-2.805),(-2.51,-2.245),(-2.51,-2.245),(-2.51,-2.805)])

c_route_eaf2b499_10_1_2 = lib.new_cell('c_route_eaf2b499$10$1$2')
R(c_route_eaf2b499_10_1_2, metal3, [(0.71,-8.25,3.07,-7.75), (2.51,-8.25,3.07,-7.69), (2.51,-8.25,3.07,-3.045), (2.51,-3.605,3.07,-3.045), (0.71,-3.545,3.07,-3.045)])
P(c_route_eaf2b499_10_1_2, metal3, [(3.07,-8.25),(3.07,-7.69),(3.07,-7.69),(3.07,-8.25)],
  [(3.07,-3.605),(3.07,-3.045),(3.07,-3.045),(3.07,-3.605)])

via_dev = lib.new_cell('via_dev')
R(via_dev, metal2, [(0,0,0.5,0.5)])
R(via_dev, via2, [(0.12,0.12,0.38,0.38)])
R(via_dev, metal3, [(0,0,0.5,0.5)])

via_dev_1 = lib.new_cell('via_dev$1')
R(via_dev_1, metal1, [(0,0,0.5,0.5)])
R(via_dev_1, via1, [(0.12,0.12,0.38,0.38)])
R(via_dev_1, metal2, [(0,0,0.5,0.5)])

via_dev_3 = lib.new_cell('via_dev$3')
R(via_dev_3, via3, [(0.12,0.12,0.38,0.38)])
R(via_dev_3, via4, [(0.12,0.12,0.38,0.38)])
R(via_dev_3, metal3, [(0,0,0.5,0.5)])
R(via_dev_3, metal4, [(0,0,0.5,0.5)])
R(via_dev_3, metal5, [(0,0,0.5,0.5)])

unnamed_b485e80c = lib.new_cell('Unnamed_b485e80c')
A(unnamed_b485e80c, via4, -5.33, -6.48, 0.26, 0.26, 14, 1, 0.8, 0)
A(unnamed_b485e80c, via4, -4.93, -4.93, 0.26, 0.26, 13, 13, 0.8, 0.8)
R(unnamed_b485e80c, metal4, [(-6.1,-7,6.1,-6.6), (-6.1,-6.6,6.1,-6.1), (-6.1,-6.1,6.1,6.1)])
R(unnamed_b485e80c, fusetop, [(-5.5,-5.5,5.5,5.5)])
A(unnamed_b485e80c, metal5, -5.45, -6.6, 0.5, 0.5, 14, 1, 0.8, 0)
A(unnamed_b485e80c, metal5, -5.05, -5.05, 0.5, 0.5, 13, 13, 0.8, 0.8)
R(unnamed_b485e80c, metal5, [(-6.1,-6.6,6.1,-6.1), (-5.5,-5.5,5.5,5.5)])
R(unnamed_b485e80c, cap_mk, [(-6.1,-6.1,6.1,6.1)])
R(unnamed_b485e80c, L117_10, [(-5.5,-5.5,5.5,-5.4)])

unnamed_ce53a39d = lib.new_cell('Unnamed_ce53a39d')
A(unnamed_ce53a39d, via4, -5.33, -6.48, 0.26, 0.26, 14, 1, 0.8, 0)
A(unnamed_ce53a39d, via4, -4.93, -4.93, 0.26, 0.26, 13, 13, 0.8, 0.8)
R(unnamed_ce53a39d, metal4, [(-6.1,-7,6.1,-6.6), (-6.1,-6.6,6.1,-6.1), (-6.1,-6.1,6.1,6.1)])
R(unnamed_ce53a39d, fusetop, [(-5.5,-5.5,5.5,5.5)])
A(unnamed_ce53a39d, metal5, -5.45, -6.6, 0.5, 0.5, 14, 1, 0.8, 0)
A(unnamed_ce53a39d, metal5, -5.05, -5.05, 0.5, 0.5, 13, 13, 0.8, 0.8)
R(unnamed_ce53a39d, metal5, [(-6.1,-6.6,6.1,-6.1), (-5.5,-5.5,5.5,5.5)])
R(unnamed_ce53a39d, cap_mk, [(-6.1,-6.1,6.1,6.1)])
R(unnamed_ce53a39d, L117_10, [(-5.5,-5.5,5.5,-5.4)])

straight_route_6541fedd = lib.new_cell('straight_route_6541fedd')
R(straight_route_6541fedd, metal5, [(36.5,-5.05,42.5,5.95)])

straight_route_f9727527 = lib.new_cell('straight_route_f9727527')
R(straight_route_f9727527, metal5, [(37.1,-6.15,41.9,-5.65)])

capfb_m2 = lib.new_cell('capfb_m2')
R(capfb_m2, nwell, [(57.19,22.955,67.37,33.445), (55.39,49.645,69.17,64.275)])
R(capfb_m2, metal1, [(65.71,15.685,67.67,16.145), (53.33,20.865,59.39,21.325), (52.13,32.155,59.15,32.615), (65.41,32.155,72.43,32.615), (53.33,35.545,57.85,36.04), (56.08,35.545,60.11,45.795), (64.43,35.545,68.46,45.795), (56.06,39.445,61.59,42.445), (62.97,39.445,68.5,42.445), (56.08,50.335,60.11,63.585), (64.45,50.335,68.48,63.585), (56.08,53.685,61.59,59.685), (62.93,53.685,68.44,59.685), (52.13,63.08,57.43,63.585), (67.13,63.08,72.43,63.585)])
R(capfb_m2, metal2, [(54.53,14.955,55.03,48.015), (61.57,17.6,62.07,19.65), (53.33,20.865,53.83,36.04), (61.56,25.455,62.07,30.705), (62.03,31.245,62.53,34.695), (52.13,32.155,52.63,63.585), (71.93,32.155,72.43,63.585), (70.73,34.195,71.23,38.39), (61.11,38.695,61.61,42.445), (62.95,38.695,63.45,42.445), (61.11,53.685,61.61,60.435), (62.95,53.685,63.45,60.435)])
R(capfb_m2, metal3, [(54.53,14.955,62.53,15.455), (62.03,14.955,62.53,17.06), (62.03,16.56,62.53,17.06), (47.29,22.3,59.77,22.8), (62.03,31.245,63.44,31.745), (62.03,34.195,71.23,34.695), (61.59,42.945,62.97,53.185), (54.53,47.515,62.97,48.015)])
R(capfb_m2, metal5, [(64.34,22.155,87.16,22.955)])
R(capfb_m2, lvpwell, [(57.19,14.855,67.37,22.155)])
capfb_m2.add(gdstk.Reference(unnamed_2a73851a_1_2, (60.63,56.955)))
capfb_m2.add(gdstk.Reference(unnamed_f1af8ef3_1_2, (63.93,56.955), rotation=pi, x_reflection=True))
capfb_m2.add(gdstk.Reference(unnamed_ead98f9a_1_2, (60.63,40.665), x_reflection=True))
capfb_m2.add(gdstk.Reference(unnamed_11e8e328_1_2, (63.93,40.665), rotation=pi))
capfb_m2.add(gdstk.Reference(unnamed_a559eeb2_1_1_2, (62.28,56.955)))
capfb_m2.add(gdstk.Reference(unnamed_ba294454_1_1_2, (62.28,40.665)))
capfb_m2.add(gdstk.Reference(straight_route_bff6138e_, (60.63,56.955)))
capfb_m2.add(gdstk.Reference(c_route_7e4f65a3_1_1_2, (60.63,56.955)))
capfb_m2.add(gdstk.Reference(straight_route_e266139e_, (60.63,56.955)))
capfb_m2.add(gdstk.Reference(straight_route_f31ed6b7_, (60.63,56.955)))
capfb_m2.add(gdstk.Reference(unnamed_5acb1a93_1_2, (62.28,28.2), x_reflection=True))
capfb_m2.add(gdstk.Reference(unnamed_6f5da526_1_2, (62.28,18.505)))
capfb_m2.add(gdstk.Reference(c_route_c792315c_10_1_2, (62.28,28.2)))
capfb_m2.add(gdstk.Reference(c_route_eaf2b499_10_1_2, (62.28,28.2)))
capfb_m2.add(gdstk.Reference(via_dev, (62.03,34.195)))
capfb_m2.add(gdstk.Reference(via_dev, (70.73,34.195)))
capfb_m2.add(gdstk.Reference(via_dev_1, (71.93,32.155)))
capfb_m2.add(gdstk.Reference(via_dev_1, (71.93,63.085)))
capfb_m2.add(gdstk.Reference(via_dev_1, (52.63,32.155), rotation=pi, x_reflection=True))
capfb_m2.add(gdstk.Reference(via_dev_1, (52.63,63.085), rotation=pi, x_reflection=True))
capfb_m2.add(gdstk.Reference(via_dev_1, (53.83,35.535), rotation=pi, x_reflection=True))
capfb_m2.add(gdstk.Reference(via_dev_1, (53.83,20.865), rotation=pi, x_reflection=True))
capfb_m2.add(gdstk.Reference(via_dev, (55.03,14.955), rotation=pi, x_reflection=True))
capfb_m2.add(gdstk.Reference(via_dev, (55.03,47.515), rotation=pi, x_reflection=True))
capfb_m2.add(gdstk.Reference(via_dev_3, (64.82,22.3)))
capfb_m2.add(gdstk.Reference(unnamed_b485e80c, (75.72,21.86)))
capfb_m2.add(gdstk.Reference(unnamed_ce53a39d, (92.72,21.86)))
capfb_m2.add(gdstk.Reference(straight_route_6541fedd, (44.72,21.41)))
capfb_m2.add(gdstk.Reference(straight_route_f9727527, (44.72,21.41)))
capfb_m2.add(gdstk.Label('VDD3V3', (70.57,63.29), layer=34, texttype=10))
capfb_m2.add(gdstk.Label('VSS', (67.37,15.8), layer=34, texttype=10))
capfb_m2.add(gdstk.Label('in', (52.46,22.49), layer=42, texttype=10))
capfb_m2.add(gdstk.Label('clk', (55.93,15.15), layer=42, texttype=10))
capfb_m2.add(gdstk.Label('out', (84.22,15.51), layer=81, texttype=10))

lib.write_gds('capfb_m2.gds')
